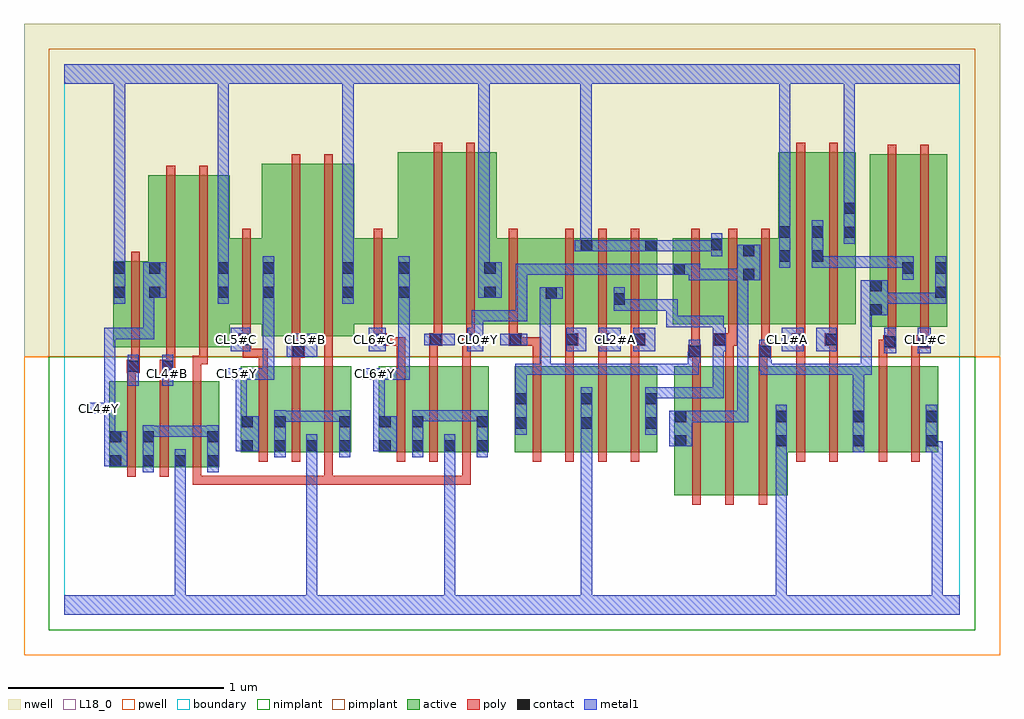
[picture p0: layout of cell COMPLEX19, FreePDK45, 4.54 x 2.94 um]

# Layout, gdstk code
import gdstk
lib = gdstk.Library(unit=1e-6, precision=1e-09)
def R(c, l, rs):  # rectangles x0, y0, x1, y1
    for r in rs: c.add(gdstk.rectangle(r[:2], r[2:], *l))
def A(c, l, x, y, w, h, nx, ny, dx, dy):  # array of equal rectangles
    R(c, l, [(x+i*dx, y+j*dy, x+i*dx+w, y+j*dy+h) for i in range(nx) for j in range(ny)])
active = (1, 0)
pwell = (2, 0)
nwell = (3, 0)
nimplant = (4, 0)
pimplant = (5, 0)
poly = (9, 0)
contact = (10, 0)
metal1 = (11, 0)
L18_0 = (18, 0)
boundary = (235, 0)

complex19 = lib.new_cell('COMPLEX19')
R(complex19, active, [(2.834,0.556,3.014,1.156), (2.834,0.556,2.894,1.156), (3.014,0.556,3.166,1.156), (3.166,0.556,3.362,1.156), (0.208,0.686,0.268,1.086), (0.208,0.686,0.42,1.086), (0.36,0.686,0.568,1.086), (0.36,0.686,0.42,0.858), (0.508,0.686,0.72,1.086), (0.508,0.686,0.568,0.746), (0.66,0.686,0.72,1.086), (3.302,0.732,3.362,0.952), (0.82,0.756,0.88,1.156), (0.82,0.756,1.032,1.156), (0.972,0.756,1.032,1.156), (0.972,0.756,1.18,1.156), (1.12,0.756,1.18,1.156), (1.12,0.756,1.332,1.156), (1.272,0.756,1.332,1.156), (1.46,0.756,1.52,1.156), (1.46,0.756,1.672,1.156), (1.612,0.756,1.82,1.156), (1.612,0.756,1.672,0.962), (1.76,0.756,1.972,1.156), (1.76,0.756,1.82,0.822), (1.912,0.756,1.972,1.156), (2.092,0.756,2.152,1.156), (2.092,0.756,2.272,1.156), (2.272,0.756,2.456,1.156), (2.396,0.756,2.576,1.156), (2.396,0.756,2.456,1.036), (2.576,0.756,2.756,1.156), (2.696,0.756,2.756,1.156), (3.302,0.756,3.498,1.156), (3.498,0.756,3.72,1.156), (3.66,0.756,3.88,1.156), (3.66,0.756,3.72,0.952), (3.88,0.756,4.06,1.156), (4,0.756,4.06,1.156), (0.226,1.244,0.286,1.644), (0.226,1.244,0.45,1.644), (0.39,1.244,0.57,2.044), (0.57,1.244,0.768,2.044), (0.918,1.296,1.152,2.096), (1.152,1.296,1.348,2.096), (3.742,1.34,3.95,2.14), (3.742,1.34,3.802,2.044), (3.89,1.34,4.102,2.14), (4.042,1.34,4.102,2.112), (0.708,1.35,0.978,1.75), (0.918,1.35,0.978,2.096), (1.288,1.35,1.608,1.75), (1.548,1.35,1.812,2.15), (1.812,1.35,2.008,2.15), (1.948,1.35,2.292,1.75), (2.232,1.35,2.456,1.75), (2.396,1.35,2.608,1.75), (2.548,1.35,2.756,1.75), (2.696,1.35,2.756,1.75), (2.828,1.35,3.062,1.75), (2.828,1.35,2.888,1.644), (3.002,1.35,3.21,1.75), (3.15,1.35,3.378,1.75), (3.318,1.35,3.53,2.15), (3.47,1.35,3.678,2.15), (3.47,1.35,3.53,2.15), (2.396,1.438,2.456,1.746), (2.548,1.438,2.608,1.644), (1.548,1.442,1.608,1.94), (1.948,1.464,2.008,2.122), (2.232,1.466,2.292,1.75), (0.39,1.47,0.45,1.644), (0.708,1.47,0.768,2.044), (1.288,1.47,1.348,1.856), (3.89,1.506,3.95,2.14), (3.15,1.552,3.21,1.75), (3.002,1.576,3.062,1.75), (3.318,1.576,3.378,1.81), (3.618,1.686,3.678,2.15)])
R(complex19, pwell, [(-0.188,-0.188,4.348,1.2)])
R(complex19, nwell, [(-0.188,1.2,4.348,2.748)])
R(complex19, nimplant, [(-0.072,-0.072,4.232,1.2)])
R(complex19, pimplant, [(-0.072,1.2,4.232,2.632)])
A(complex19, poly, 0.292, 0.642, 0.04, 0.488, 3, 1, 0.152, 0)
A(complex19, poly, 0.904, 0.712, 0.04, 0.488, 3, 1, 0.152, 0)
A(complex19, poly, 1.544, 0.712, 0.04, 0.488, 3, 1, 0.152, 0)
A(complex19, poly, 2.176, 0.712, 0.04, 0.488, 4, 1, 0.152, 0)
A(complex19, poly, 1.544, 1.16, 0.04, 0.13, 3, 1, 0.152, 0)
A(complex19, poly, 2.176, 1.16, 0.04, 0.13, 4, 1, 0.152, 0)
A(complex19, poly, 2.328, 1.27, 0.04, 0.076, 3, 1, 0.152, 0)
A(complex19, poly, 2.328, 1.306, 0.04, 0.488, 3, 1, 0.152, 0)
R(complex19, poly, [(2.918,0.512,2.958,1.2), (3.07,0.512,3.11,1.2), (3.226,0.512,3.266,1.2), (0.596,0.606,0.636,0.682), (0.596,0.606,0.636,0.646), (0.596,0.606,0.636,0.646), (0.596,0.606,0.636,0.646), (0.596,0.606,0.838,0.646), (0.798,0.606,0.838,0.646), (0.798,0.606,0.838,0.646), (0.798,0.606,0.838,0.646), (0.798,0.606,0.944,0.646), (0.904,0.606,0.944,0.646), (0.904,0.606,1.142,0.646), (1.102,0.606,1.142,0.646), (1.102,0.606,1.142,0.646), (1.102,0.606,1.142,0.646), (1.102,0.606,1.248,0.646), (1.208,0.606,1.248,0.646), (1.208,0.606,1.248,0.646), (1.208,0.606,1.248,0.646), (1.208,0.606,1.248,0.752), (1.208,0.606,1.63,0.646), (1.59,0.606,1.63,0.646), (1.59,0.606,1.63,0.646), (1.59,0.606,1.63,0.646), (1.59,0.606,1.782,0.646), (1.742,0.606,1.782,0.646), (1.742,0.606,1.782,0.646), (1.742,0.606,1.782,0.646), (1.742,0.606,1.888,0.646), (1.848,0.606,1.888,0.646), (1.848,0.606,1.888,0.646), (1.848,0.606,1.888,0.646), (1.848,0.606,1.888,0.752), (3.402,0.712,3.442,1.2), (3.554,0.712,3.594,1.2), (3.784,0.712,3.824,1.2), (3.936,0.712,3.976,1.2), (0.292,1.09,0.332,1.166), (0.444,1.09,0.484,1.166), (0.596,1.09,0.636,1.204), (0.29,1.126,0.35,1.186), (0.444,1.126,0.51,1.186), (0.31,1.146,0.35,1.186), (0.31,1.146,0.35,1.186), (0.31,1.146,0.35,1.24), (0.47,1.146,0.51,1.186), (0.47,1.146,0.514,1.186), (0.474,1.146,0.514,1.24), (0.904,1.16,0.944,1.236), (1.056,1.16,1.096,1.236), (1.208,1.16,1.248,1.256), (2.918,1.16,2.958,1.236), (3.07,1.16,3.11,1.29), (3.226,1.16,3.266,1.236), (3.402,1.16,3.442,1.29), (3.554,1.16,3.594,1.29), (3.784,1.16,3.824,1.28), (3.936,1.16,3.976,1.28), (0.596,1.164,0.636,1.204), (0.596,1.164,0.636,1.204), (0.596,1.164,0.666,1.204), (0.626,1.164,0.666,1.24), (0.828,1.196,0.868,1.29), (0.828,1.196,0.944,1.236), (1.056,1.196,1.116,1.256), (2.898,1.196,2.958,1.256), (3.226,1.196,3.286,1.256), (0.31,1.2,0.35,1.688), (0.474,1.2,0.514,2.088), (0.626,1.2,0.666,2.088), (1.056,1.216,1.096,1.292), (1.056,1.216,1.096,1.256), (1.056,1.216,1.096,1.256), (1.208,1.216,1.248,1.292), (1.208,1.216,1.248,1.256), (1.208,1.216,1.248,1.256), (1.208,1.216,1.248,1.256), (2.912,1.216,2.952,1.256), (2.912,1.216,2.952,1.256), (2.912,1.216,2.952,1.346), (3.238,1.216,3.278,1.256), (3.238,1.216,3.278,1.256), (3.238,1.216,3.278,1.346), (3.784,1.24,3.846,1.28), (3.806,1.24,3.846,1.28), (3.806,1.24,3.866,1.3), (3.936,1.24,4.022,1.3), (0.808,1.25,0.868,1.31), (1.438,1.25,1.498,1.31), (1.458,1.25,1.498,1.29), (1.458,1.25,1.584,1.29), (1.696,1.25,1.756,1.31), (1.848,1.25,1.908,1.29), (1.868,1.25,1.908,1.29), (1.868,1.25,1.928,1.31), (2.066,1.25,2.126,1.31), (2.086,1.25,2.126,1.29), (2.086,1.25,2.216,1.29), (2.328,1.25,2.368,1.29), (2.328,1.25,2.368,1.29), (2.328,1.25,2.388,1.31), (2.48,1.25,2.52,1.29), (2.48,1.25,2.52,1.29), (2.48,1.25,2.54,1.31), (2.632,1.25,2.672,1.29), (2.632,1.25,2.672,1.29), (2.632,1.25,2.7,1.31), (3.018,1.25,3.126,1.31), (3.07,1.25,3.11,1.29), (3.07,1.25,3.11,1.29), (3.38,1.25,3.442,1.31), (3.402,1.25,3.442,1.29), (3.402,1.25,3.442,1.29), (3.534,1.25,3.594,1.31), (3.554,1.25,3.594,1.29), (3.554,1.25,3.594,1.29), (1.056,1.252,1.096,2.14), (1.208,1.252,1.248,2.14), (3.826,1.26,3.866,1.336), (3.978,1.26,4.018,1.336), (3.978,1.26,4.018,1.3), (3.978,1.26,4.018,1.3), (0.826,1.27,0.866,1.346), (1.438,1.27,1.478,1.346), (1.716,1.27,1.756,1.346), (1.716,1.27,1.756,1.31), (1.716,1.27,1.756,1.31), (1.868,1.27,1.908,1.346), (2.066,1.27,2.106,1.346), (3.086,1.27,3.126,1.346), (3.402,1.27,3.442,1.346), (3.554,1.27,3.594,1.346), (3.826,1.296,3.866,2.184), (3.978,1.296,4.018,2.184), (0.826,1.306,0.866,1.794), (1.438,1.306,1.478,1.794), (1.716,1.306,1.756,2.194), (1.868,1.306,1.908,2.194), (2.066,1.306,2.106,1.794), (2.912,1.306,2.952,1.794), (3.086,1.306,3.126,1.794), (3.238,1.306,3.278,1.794), (3.402,1.306,3.442,2.194), (3.554,1.306,3.594,2.194)])
R(complex19, contact, [(0.212,0.69,0.264,0.742), (0.364,0.69,0.416,0.742), (0.512,0.69,0.564,0.742), (0.664,0.69,0.716,0.742), (0.824,0.76,0.876,0.812), (0.976,0.76,1.028,0.812), (1.124,0.76,1.176,0.812), (1.276,0.76,1.328,0.812), (1.464,0.76,1.516,0.812), (1.616,0.76,1.668,0.812), (1.764,0.76,1.816,0.812), (1.916,0.76,1.968,0.812), (2.838,0.784,2.89,0.836), (3.306,0.784,3.358,0.836), (3.664,0.784,3.716,0.836), (4.004,0.784,4.056,0.836), (0.212,0.802,0.264,0.854), (0.364,0.802,0.416,0.854), (0.664,0.802,0.716,0.854), (2.096,0.866,2.148,0.918), (2.4,0.866,2.452,0.918), (2.7,0.866,2.752,0.918), (0.824,0.872,0.876,0.924), (0.976,0.872,1.028,0.924), (1.276,0.872,1.328,0.924), (1.464,0.872,1.516,0.924), (1.616,0.872,1.668,0.924), (1.916,0.872,1.968,0.924), (2.838,0.896,2.89,0.948), (3.306,0.896,3.358,0.948), (3.664,0.896,3.716,0.948), (4.004,0.896,4.056,0.948), (2.096,0.978,2.148,1.03), (2.4,0.978,2.452,1.03), (2.7,0.978,2.752,1.03), (0.294,1.13,0.346,1.182), (0.454,1.13,0.506,1.182), (1.06,1.2,1.112,1.252), (2.902,1.2,2.954,1.252), (3.23,1.2,3.282,1.252), (3.81,1.244,3.862,1.296), (3.966,1.244,4.018,1.296), (0.812,1.254,0.864,1.306), (1.442,1.254,1.494,1.306), (1.7,1.254,1.752,1.306), (1.872,1.254,1.924,1.306), (2.07,1.254,2.122,1.306), (2.332,1.254,2.384,1.306), (2.484,1.254,2.536,1.306), (2.644,1.254,2.696,1.306), (3.022,1.254,3.074,1.306), (3.384,1.254,3.436,1.306), (3.538,1.254,3.59,1.306), (3.746,1.392,3.798,1.444), (2.552,1.442,2.604,1.494), (2.236,1.47,2.288,1.522), (0.23,1.474,0.282,1.526), (0.394,1.474,0.446,1.526), (0.712,1.474,0.764,1.526), (0.922,1.474,0.974,1.526), (1.292,1.474,1.344,1.526), (1.552,1.474,1.604,1.526), (1.952,1.474,2.004,1.526), (4.046,1.474,4.098,1.526), (3.746,1.504,3.798,1.556), (3.154,1.556,3.206,1.608), (2.832,1.58,2.884,1.632), (0.23,1.586,0.282,1.638), (0.394,1.586,0.446,1.638), (0.712,1.586,0.764,1.638), (0.922,1.586,0.974,1.638), (1.292,1.586,1.344,1.638), (1.552,1.586,1.604,1.638), (1.952,1.586,2.004,1.638), (3.894,1.586,3.946,1.638), (4.046,1.586,4.098,1.638), (3.322,1.642,3.374,1.694), (3.474,1.642,3.526,1.694), (3.154,1.668,3.206,1.72), (2.4,1.69,2.452,1.742), (2.7,1.69,2.752,1.742), (3.006,1.694,3.058,1.746), (3.622,1.752,3.674,1.804), (3.322,1.754,3.374,1.806), (3.474,1.754,3.526,1.806), (3.622,1.864,3.674,1.916)])
A(complex19, metal1, 2.7, 1.006, 0.156, 0.052, 3, 1, 0.104, 0)
A(complex19, metal1, 2.804, 1.006, 0.052, 0.052, 3, 1, 0.104, 0)
R(complex19, metal1, [(0,0,4.16,0.092), (0.512,0.04,0.564,0.092), (0.512,0.04,0.564,0.092), (0.512,0.04,0.564,0.714), (1.124,0.04,1.176,0.784), (1.764,0.04,1.816,0.784), (2.4,0.04,2.452,0.092), (2.4,0.04,2.452,0.092), (2.4,0.04,2.452,0.092), (2.4,0.04,2.452,0.092), (2.4,0.04,2.452,0.092), (2.4,0.04,2.452,0.092), (2.4,0.04,2.452,0.092), (2.4,0.04,2.452,0.092), (2.4,0.04,2.452,0.092), (2.4,0.04,2.452,0.092), (2.4,0.04,2.452,0.092), (2.4,0.04,2.452,0.092), (2.4,0.04,2.452,0.89), (3.306,0.04,3.358,0.808), (4.03,0.04,4.082,0.092), (4.03,0.04,4.082,0.092), (4.03,0.04,4.082,0.092), (4.03,0.04,4.082,0.092), (4.03,0.04,4.082,0.808), (0.364,0.662,0.416,0.882), (0.512,0.662,0.564,0.714), (0.512,0.662,0.564,0.714), (0.512,0.662,0.564,0.714), (0.512,0.662,0.564,0.714), (0.512,0.662,0.564,0.714), (0.512,0.662,0.564,0.714), (0.512,0.662,0.564,0.714), (0.512,0.662,0.564,0.714), (0.512,0.662,0.564,0.714), (0.512,0.662,0.564,0.714), (0.512,0.662,0.564,0.77), (0.664,0.662,0.716,0.882), (0.184,0.69,0.292,0.854), (0.976,0.732,1.028,0.952), (1.124,0.732,1.176,0.784), (1.124,0.732,1.176,0.784), (1.124,0.732,1.176,0.784), (1.124,0.732,1.176,0.784), (1.124,0.732,1.176,0.784), (1.124,0.732,1.176,0.784), (1.124,0.732,1.176,0.784), (1.124,0.732,1.176,0.784), (1.124,0.732,1.176,0.784), (1.124,0.732,1.176,0.784), (1.124,0.732,1.176,0.784), (1.124,0.732,1.176,0.784), (1.124,0.732,1.176,0.84), (1.276,0.732,1.328,0.952), (1.616,0.732,1.668,0.952), (1.764,0.732,1.816,0.784), (1.764,0.732,1.816,0.784), (1.764,0.732,1.816,0.784), (1.764,0.732,1.816,0.784), (1.764,0.732,1.816,0.784), (1.764,0.732,1.816,0.784), (1.764,0.732,1.816,0.784), (1.764,0.732,1.816,0.784), (1.764,0.732,1.816,0.784), (1.764,0.732,1.816,0.784), (1.764,0.732,1.816,0.784), (1.764,0.732,1.816,0.784), (1.764,0.732,1.816,0.84), (1.916,0.732,1.968,0.952), (3.306,0.756,3.358,0.976), (3.306,0.756,3.358,0.808), (3.306,0.756,3.358,0.808), (3.306,0.756,3.358,0.808), (3.306,0.756,3.358,0.808), (3.306,0.756,3.358,0.808), (3.306,0.756,3.358,0.808), (3.306,0.756,3.358,0.808), (3.306,0.756,3.358,0.808), (3.664,0.756,3.716,0.976), (4.004,0.756,4.056,0.976), (4.004,0.756,4.056,0.808), (4.004,0.756,4.082,0.808), (4.03,0.756,4.082,0.808), (4.03,0.756,4.082,0.808), (4.03,0.756,4.082,0.808), (4.03,0.756,4.082,0.808), (4.03,0.756,4.082,0.808), (4.03,0.756,4.082,0.808), (0.796,0.76,0.904,0.924), (1.436,0.76,1.544,0.924), (2.81,0.784,2.918,0.948), (0.184,0.802,0.236,0.986), (0.364,0.828,0.526,0.88), (0.474,0.828,0.526,0.88), (0.474,0.828,0.526,0.88), (0.474,0.828,0.526,0.88), (0.474,0.828,0.688,0.88), (0.636,0.828,0.688,0.88), (0.636,0.828,0.716,0.88), (2.096,0.838,2.148,1.058), (2.4,0.838,2.452,1.058), (2.7,0.838,2.752,1.058), (0.796,0.872,0.848,1.146), (1.436,0.872,1.488,1.146), (2.866,0.896,2.96,0.948), (2.908,0.896,2.96,0.948), (2.908,0.896,3.068,0.948), (3.016,0.896,3.068,0.948), (3.016,0.896,3.172,0.948), (3.12,0.896,3.172,0.948), (3.12,0.896,3.178,0.948), (3.126,0.896,3.178,0.948), (3.126,0.896,3.178,0.948), (3.126,0.896,3.178,0.948), (3.126,0.896,3.178,0.948), (3.126,0.896,3.178,0.948), (3.126,0.896,3.178,1.608), (0.976,0.898,1.028,0.95), (0.976,0.898,1.028,0.95), (0.976,0.898,1.138,0.95), (1.086,0.898,1.138,0.95), (1.086,0.898,1.328,0.95), (1.276,0.898,1.328,0.95), (1.276,0.898,1.328,0.95), (1.616,0.9,1.668,0.952), (1.616,0.9,1.668,0.952), (1.616,0.9,1.836,0.952), (1.784,0.9,1.836,0.952), (1.784,0.9,1.968,0.952), (1.916,0.9,1.968,0.952), (1.916,0.9,1.968,0.952), (3.664,0.924,3.716,1.168), (0.106,0.934,0.236,0.986), (0.184,0.934,0.236,1.334), (2.096,1.006,2.148,1.168), (3.012,1.006,3.064,1.334), (0.294,1.066,0.346,1.21), (0.454,1.066,0.506,1.21), (0.746,1.094,0.854,1.146), (0.802,1.094,0.854,1.146), (0.802,1.094,0.854,1.146), (0.802,1.094,0.974,1.146), (0.922,1.094,0.974,1.146), (0.922,1.094,0.974,1.498), (1.386,1.094,1.494,1.146), (1.442,1.094,1.494,1.146), (1.442,1.094,1.494,1.146), (1.442,1.094,1.604,1.146), (1.552,1.094,1.604,1.146), (1.552,1.094,1.604,1.498), (2.096,1.116,2.148,1.168), (2.096,1.116,2.148,1.168), (2.096,1.116,2.148,1.168), (2.096,1.116,2.26,1.168), (2.208,1.116,2.26,1.168), (2.208,1.116,2.37,1.168), (2.208,1.116,2.26,1.342), (2.318,1.116,2.37,1.168), (2.318,1.116,2.494,1.168), (2.442,1.116,2.494,1.168), (2.442,1.116,2.494,1.168), (2.442,1.116,2.494,1.168), (2.442,1.116,2.614,1.168), (2.562,1.116,2.614,1.168), (2.562,1.116,2.614,1.168), (2.562,1.116,2.614,1.168), (2.562,1.116,2.746,1.168), (2.694,1.116,2.746,1.168), (2.694,1.116,2.948,1.168), (2.896,1.116,2.948,1.224), (3.236,1.116,3.436,1.168), (3.236,1.116,3.288,1.186), (3.384,1.116,3.436,1.168), (3.384,1.116,3.436,1.168), (3.384,1.116,3.436,1.168), (3.384,1.116,3.642,1.168), (3.59,1.116,3.642,1.168), (3.59,1.116,3.716,1.168), (3.664,1.116,3.716,1.168), (3.664,1.116,3.752,1.168), (3.7,1.116,3.752,1.168), (3.7,1.116,3.752,1.168), (3.7,1.116,3.752,1.168), (3.7,1.116,3.752,1.444), (3.23,1.134,3.288,1.186), (3.23,1.134,3.282,1.28), (2.896,1.172,2.954,1.224), (2.902,1.172,2.954,1.28), (1.032,1.2,1.174,1.306), (3.81,1.216,3.866,1.334), (3.966,1.216,4.026,1.334), (0.774,1.226,0.864,1.334), (1.414,1.226,1.494,1.334), (1.872,1.226,1.946,1.334), (2.332,1.226,2.426,1.334), (2.484,1.226,2.586,1.334), (2.644,1.226,2.746,1.334), (3.022,1.226,3.074,1.334), (3.334,1.226,3.436,1.334), (3.494,1.226,3.59,1.334), (1.672,1.254,1.814,1.306), (2.026,1.254,2.15,1.306), (0.184,1.282,0.236,1.334), (0.184,1.282,0.236,1.334), (0.184,1.282,0.236,1.334), (0.184,1.282,0.418,1.334), (0.366,1.282,0.418,1.334), (0.366,1.282,0.418,1.526), (1.894,1.282,1.946,1.334), (1.894,1.282,1.946,1.334), (1.894,1.282,1.946,1.416), (3.012,1.282,3.064,1.334), (3.012,1.282,3.064,1.334), (3.012,1.282,3.064,1.39), (3.012,1.282,3.074,1.334), (2.208,1.29,2.26,1.342), (2.208,1.29,2.26,1.522), (2.798,1.338,2.85,1.39), (2.798,1.338,2.948,1.39), (2.798,1.338,2.85,1.466), (2.896,1.338,2.948,1.39), (2.896,1.338,2.96,1.39), (2.908,1.338,2.96,1.39), (2.908,1.338,3.064,1.39), (1.894,1.364,1.946,1.416), (1.894,1.364,2.15,1.416), (2.098,1.364,2.15,1.416), (2.098,1.364,2.15,1.632), (3.7,1.392,3.826,1.556), (2.552,1.414,2.604,1.466), (2.552,1.414,2.604,1.466), (2.552,1.414,2.604,1.522), (2.552,1.414,2.85,1.466), (2.798,1.414,2.85,1.466), (0.23,1.446,0.282,1.666), (0.712,1.446,0.764,1.666), (0.922,1.446,0.974,1.666), (0.922,1.446,0.974,1.498), (0.922,1.446,0.974,1.498), (1.292,1.446,1.344,1.666), (1.552,1.446,1.604,1.666), (1.552,1.446,1.604,1.498), (1.552,1.446,1.604,1.498), (3.774,1.446,3.826,1.498), (3.774,1.446,3.826,1.498), (3.774,1.446,3.946,1.498), (3.894,1.446,4.098,1.498), (3.894,1.446,3.946,1.498), (3.894,1.446,3.946,1.498), (3.894,1.446,3.946,1.498), (4.046,1.446,4.098,1.666), (2.208,1.47,2.316,1.522), (0.366,1.474,0.474,1.638), (1.924,1.474,2.032,1.638), (2.902,1.556,2.954,1.608), (2.902,1.556,2.964,1.608), (2.902,1.556,2.954,1.632), (2.912,1.556,2.964,1.608), (2.912,1.556,3.068,1.608), (3.016,1.556,3.068,1.608), (3.016,1.556,3.074,1.608), (3.022,1.556,3.074,1.608), (3.022,1.556,3.178,1.608), (3.126,1.556,3.178,1.608), (3.126,1.556,3.178,1.608), (3.126,1.556,3.234,1.72), (3.894,1.558,3.946,1.666), (2.098,1.58,2.15,1.632), (2.098,1.58,2.15,1.632), (2.098,1.58,2.15,1.632), (2.098,1.58,2.26,1.632), (2.208,1.58,2.26,1.632), (2.208,1.58,2.26,1.632), (2.208,1.58,2.26,1.632), (2.208,1.58,2.494,1.632), (2.442,1.58,2.494,1.632), (2.442,1.58,2.494,1.632), (2.442,1.58,2.494,1.632), (2.442,1.58,2.614,1.632), (2.562,1.58,2.614,1.632), (2.562,1.58,2.614,1.632), (2.562,1.58,2.614,1.632), (2.562,1.58,2.74,1.632), (2.688,1.58,2.74,1.632), (2.688,1.58,2.856,1.632), (2.804,1.58,2.954,1.632), (1.924,1.586,1.976,1.638), (1.924,1.586,1.976,1.638), (1.924,1.586,1.976,1.638), (1.924,1.586,1.976,1.638), (1.924,1.586,1.976,1.638), (1.924,1.586,1.976,1.638), (1.924,1.586,1.976,2.494), (0.23,1.614,0.282,1.79), (0.712,1.614,0.764,1.666), (0.712,1.614,0.764,1.666), (0.712,1.614,0.764,1.666), (0.712,1.614,0.764,1.666), (0.712,1.614,0.764,1.666), (0.712,1.614,0.764,1.666), (0.712,1.614,0.764,2.52), (1.292,1.614,1.344,1.666), (1.292,1.614,1.344,1.666), (1.292,1.614,1.344,1.666), (1.292,1.614,1.344,1.666), (1.292,1.614,1.344,1.666), (1.292,1.614,1.344,1.666), (1.292,1.614,1.344,2.52), (3.322,1.614,3.374,1.834), (3.474,1.614,3.526,1.834), (3.474,1.614,3.546,1.666), (3.494,1.614,3.546,1.666), (3.494,1.614,3.642,1.666), (3.59,1.614,3.642,1.666), (3.59,1.614,3.642,1.666), (3.59,1.614,3.642,1.666), (3.59,1.614,3.836,1.666), (3.784,1.614,3.836,1.666), (3.784,1.614,3.836,1.666), (3.784,1.614,3.836,1.666), (3.784,1.614,3.946,1.666), (3.006,1.666,3.058,1.774), (2.372,1.69,2.48,1.742), (2.398,1.69,2.45,1.742), (2.398,1.69,2.45,1.742), (2.398,1.69,2.45,2.52), (2.428,1.69,2.48,1.742), (2.428,1.69,2.48,1.742), (2.428,1.69,2.614,1.742), (2.562,1.69,2.614,1.742), (2.562,1.69,2.614,1.742), (2.562,1.69,2.614,1.742), (2.562,1.69,2.724,1.742), (2.672,1.69,2.78,1.742), (2.728,1.69,2.856,1.742), (2.804,1.69,2.856,1.742), (2.804,1.69,2.96,1.742), (2.908,1.69,2.96,1.742), (2.908,1.69,3.058,1.742), (3.622,1.724,3.674,1.944), (0.23,1.738,0.282,1.958), (0.23,1.738,0.282,1.79), (0.23,1.738,0.282,1.79), (0.23,1.738,0.282,1.79), (0.23,1.738,0.282,1.79), (0.23,1.738,0.282,1.79), (3.322,1.782,3.374,1.834), (3.322,1.782,3.374,1.834), (3.322,1.782,3.374,1.834), (3.322,1.782,3.374,1.834), (3.322,1.782,3.374,1.834), (3.322,1.782,3.374,1.834), (3.322,1.782,3.374,2.52), (3.622,1.892,3.674,2.52), (0.23,1.906,0.282,1.958), (0.23,1.906,0.282,1.958), (0.23,1.906,0.282,1.958), (0.23,1.906,0.282,1.958), (0.23,1.906,0.282,1.958), (0.23,1.906,0.282,2.506), (1.924,2.442,1.976,2.494), (1.924,2.442,1.976,2.52), (0.23,2.454,0.282,2.506), (0.23,2.454,0.282,2.506), (0.23,2.454,0.282,2.506), (0.23,2.454,0.282,2.52), (0,2.468,4.16,2.56), (0.712,2.468,0.764,2.52), (0.712,2.468,0.764,2.52), (1.292,2.468,1.344,2.52), (1.292,2.468,1.344,2.52), (2.398,2.468,2.45,2.52), (2.398,2.468,2.45,2.52), (2.398,2.468,2.45,2.52), (2.398,2.468,2.45,2.52), (2.398,2.468,2.45,2.52), (2.398,2.468,2.45,2.52), (2.398,2.468,2.45,2.52), (2.398,2.468,2.45,2.52), (2.398,2.468,2.45,2.52), (2.398,2.468,2.45,2.52), (2.398,2.468,2.45,2.52), (2.398,2.468,2.45,2.52), (2.398,2.468,2.45,2.52), (2.398,2.468,2.45,2.52), (3.322,2.468,3.374,2.52), (3.322,2.468,3.374,2.52), (3.622,2.468,3.674,2.52), (3.622,2.468,3.674,2.52), (3.622,2.468,3.674,2.52), (3.622,2.468,3.674,2.52), (3.622,2.468,3.674,2.52), (3.622,2.468,3.674,2.52), (3.622,2.468,3.674,2.52), (3.622,2.468,3.674,2.52)])
A(complex19, L18_0, 0.774, 1.254, 0.052, 0.052, 4, 1, 0.32, 0)
A(complex19, L18_0, 2.374, 1.254, 0.052, 0.052, 3, 1, 0.16, 0)
R(complex19, L18_0, [(0,0,4.16,0.092), (0.512,0.04,0.564,0.092), (0.512,0.04,0.564,0.092), (0.512,0.04,0.564,0.714), (1.124,0.04,1.176,0.784), (1.764,0.04,1.816,0.784), (2.4,0.04,2.452,0.092), (2.4,0.04,2.452,0.092), (2.4,0.04,2.452,0.092), (2.4,0.04,2.452,0.092), (2.4,0.04,2.452,0.092), (2.4,0.04,2.452,0.092), (2.4,0.04,2.452,0.092), (2.4,0.04,2.452,0.092), (2.4,0.04,2.452,0.092), (2.4,0.04,2.452,0.092), (2.4,0.04,2.452,0.092), (2.4,0.04,2.452,0.092), (2.4,0.04,2.452,0.89), (3.306,0.04,3.358,0.808), (4.03,0.04,4.082,0.092), (4.03,0.04,4.082,0.092), (4.03,0.04,4.082,0.092), (4.03,0.04,4.082,0.092), (4.03,0.04,4.082,0.808), (0.512,0.662,0.564,0.714), (0.512,0.662,0.564,0.714), (0.512,0.662,0.564,0.714), (0.512,0.662,0.564,0.714), (0.512,0.662,0.564,0.714), (0.512,0.662,0.564,0.714), (0.512,0.662,0.564,0.714), (0.512,0.662,0.564,0.714), (0.512,0.662,0.564,0.714), (0.512,0.662,0.564,0.714), (0.512,0.662,0.564,0.77), (0.184,0.69,0.292,0.854), (1.124,0.732,1.176,0.784), (1.124,0.732,1.176,0.784), (1.124,0.732,1.176,0.784), (1.124,0.732,1.176,0.784), (1.124,0.732,1.176,0.784), (1.124,0.732,1.176,0.784), (1.124,0.732,1.176,0.784), (1.124,0.732,1.176,0.784), (1.124,0.732,1.176,0.784), (1.124,0.732,1.176,0.784), (1.124,0.732,1.176,0.784), (1.124,0.732,1.176,0.784), (1.124,0.732,1.176,0.84), (1.764,0.732,1.816,0.784), (1.764,0.732,1.816,0.784), (1.764,0.732,1.816,0.784), (1.764,0.732,1.816,0.784), (1.764,0.732,1.816,0.784), (1.764,0.732,1.816,0.784), (1.764,0.732,1.816,0.784), (1.764,0.732,1.816,0.784), (1.764,0.732,1.816,0.784), (1.764,0.732,1.816,0.784), (1.764,0.732,1.816,0.784), (1.764,0.732,1.816,0.784), (1.764,0.732,1.816,0.84), (3.306,0.756,3.358,0.808), (3.306,0.756,3.358,0.808), (3.306,0.756,3.358,0.808), (3.306,0.756,3.358,0.808), (3.306,0.756,3.358,0.808), (3.306,0.756,3.358,0.808), (3.306,0.756,3.358,0.808), (3.306,0.756,3.358,0.808), (3.306,0.756,3.358,0.976), (4.004,0.756,4.056,0.808), (4.004,0.756,4.056,0.976), (4.004,0.756,4.082,0.808), (4.03,0.756,4.082,0.808), (4.03,0.756,4.082,0.808), (4.03,0.756,4.082,0.808), (4.03,0.756,4.082,0.808), (4.03,0.756,4.082,0.808), (4.03,0.756,4.082,0.808), (0.796,0.76,0.904,0.924), (1.436,0.76,1.544,0.924), (2.81,0.784,2.918,0.948), (0.184,0.802,0.236,0.986), (2.4,0.838,2.452,1.058), (0.796,0.872,0.848,1.146), (1.436,0.872,1.488,1.146), (2.866,0.896,2.96,0.948), (2.908,0.896,2.96,0.948), (2.908,0.896,3.068,0.948), (3.016,0.896,3.068,0.948), (3.016,0.896,3.172,0.948), (3.12,0.896,3.172,0.948), (3.12,0.896,3.178,0.948), (3.126,0.896,3.178,0.948), (3.126,0.896,3.178,0.948), (3.126,0.896,3.178,0.948), (3.126,0.896,3.178,0.948), (3.126,0.896,3.178,0.948), (3.126,0.896,3.178,1.608), (0.106,0.934,0.236,0.986), (0.134,0.934,0.186,0.986), (0.184,0.934,0.236,1.334), (0.294,1.066,0.346,1.21), (0.454,1.066,0.506,1.21), (0.294,1.094,0.346,1.146), (0.454,1.094,0.506,1.146), (0.746,1.094,0.854,1.146), (0.774,1.094,0.826,1.146), (0.802,1.094,0.854,1.146), (0.802,1.094,0.854,1.146), (0.802,1.094,0.974,1.146), (0.922,1.094,0.974,1.146), (0.922,1.094,0.974,1.498), (1.386,1.094,1.494,1.146), (1.414,1.094,1.466,1.146), (1.442,1.094,1.494,1.146), (1.442,1.094,1.494,1.146), (1.442,1.094,1.604,1.146), (1.552,1.094,1.604,1.146), (1.552,1.094,1.604,1.498), (1.032,1.2,1.174,1.306), (3.81,1.216,3.866,1.334), (3.966,1.216,4.026,1.334), (0.774,1.226,0.864,1.334), (1.414,1.226,1.494,1.334), (1.872,1.226,1.946,1.334), (2.332,1.226,2.426,1.334), (2.484,1.226,2.586,1.334), (2.644,1.226,2.746,1.334), (3.334,1.226,3.436,1.334), (3.494,1.226,3.59,1.334), (1.672,1.254,1.814,1.306), (1.894,1.254,1.946,1.306), (2.026,1.254,2.15,1.306), (2.054,1.254,2.106,1.306), (3.334,1.254,3.386,1.306), (3.494,1.254,3.546,1.306), (3.814,1.254,3.866,1.306), (3.974,1.254,4.026,1.306), (0.184,1.282,0.236,1.334), (0.184,1.282,0.236,1.334), (0.184,1.282,0.236,1.334), (0.184,1.282,0.418,1.334), (0.366,1.282,0.418,1.334), (0.366,1.282,0.418,1.526), (1.894,1.282,1.946,1.334), (1.894,1.282,1.946,1.334), (1.894,1.282,1.946,1.416), (1.894,1.364,1.946,1.416), (1.894,1.364,2.15,1.416), (2.098,1.364,2.15,1.416), (2.098,1.364,2.15,1.632), (0.23,1.446,0.282,1.666), (0.712,1.446,0.764,1.666), (0.922,1.446,0.974,1.498), (0.922,1.446,0.974,1.498), (0.922,1.446,0.974,1.666), (1.292,1.446,1.344,1.666), (1.552,1.446,1.604,1.498), (1.552,1.446,1.604,1.498), (1.552,1.446,1.604,1.666), (0.366,1.474,0.474,1.638), (1.924,1.474,2.032,1.638), (2.902,1.556,2.954,1.608), (2.902,1.556,2.954,1.632), (2.902,1.556,2.964,1.608), (2.912,1.556,2.964,1.608), (2.912,1.556,3.068,1.608), (3.016,1.556,3.068,1.608), (3.016,1.556,3.074,1.608), (3.022,1.556,3.074,1.608), (3.022,1.556,3.178,1.608), (3.126,1.556,3.234,1.72), (3.126,1.556,3.178,1.608), (3.126,1.556,3.178,1.608), (2.098,1.58,2.15,1.632), (2.098,1.58,2.15,1.632), (2.098,1.58,2.15,1.632), (2.098,1.58,2.26,1.632), (2.208,1.58,2.26,1.632), (2.208,1.58,2.26,1.632), (2.208,1.58,2.26,1.632), (2.208,1.58,2.494,1.632), (2.442,1.58,2.494,1.632), (2.442,1.58,2.494,1.632), (2.442,1.58,2.494,1.632), (2.442,1.58,2.614,1.632), (2.562,1.58,2.614,1.632), (2.562,1.58,2.614,1.632), (2.562,1.58,2.614,1.632), (2.562,1.58,2.74,1.632), (2.688,1.58,2.74,1.632), (2.688,1.58,2.856,1.632), (2.804,1.58,2.954,1.632), (1.924,1.586,1.976,1.638), (1.924,1.586,1.976,1.638), (1.924,1.586,1.976,1.638), (1.924,1.586,1.976,1.638), (1.924,1.586,1.976,1.638), (1.924,1.586,1.976,1.638), (1.924,1.586,1.976,2.494), (0.23,1.614,0.282,1.79), (0.712,1.614,0.764,1.666), (0.712,1.614,0.764,1.666), (0.712,1.614,0.764,1.666), (0.712,1.614,0.764,1.666), (0.712,1.614,0.764,1.666), (0.712,1.614,0.764,1.666), (0.712,1.614,0.764,2.52), (1.292,1.614,1.344,1.666), (1.292,1.614,1.344,1.666), (1.292,1.614,1.344,1.666), (1.292,1.614,1.344,1.666), (1.292,1.614,1.344,1.666), (1.292,1.614,1.344,1.666), (1.292,1.614,1.344,2.52), (3.322,1.614,3.374,1.834), (3.006,1.666,3.058,1.774), (2.372,1.69,2.48,1.742), (2.398,1.69,2.45,1.742), (2.398,1.69,2.45,1.742), (2.398,1.69,2.45,2.52), (2.428,1.69,2.48,1.742), (2.428,1.69,2.48,1.742), (2.428,1.69,2.614,1.742), (2.562,1.69,2.614,1.742), (2.562,1.69,2.614,1.742), (2.562,1.69,2.614,1.742), (2.562,1.69,2.724,1.742), (2.672,1.69,2.78,1.742), (2.728,1.69,2.856,1.742), (2.804,1.69,2.856,1.742), (2.804,1.69,2.96,1.742), (2.908,1.69,2.96,1.742), (2.908,1.69,3.058,1.742), (3.622,1.724,3.674,1.944), (0.23,1.738,0.282,1.79), (0.23,1.738,0.282,1.79), (0.23,1.738,0.282,1.79), (0.23,1.738,0.282,1.79), (0.23,1.738,0.282,1.79), (0.23,1.738,0.282,1.958), (3.322,1.782,3.374,1.834), (3.322,1.782,3.374,1.834), (3.322,1.782,3.374,1.834), (3.322,1.782,3.374,1.834), (3.322,1.782,3.374,1.834), (3.322,1.782,3.374,1.834), (3.322,1.782,3.374,2.52), (3.622,1.892,3.674,2.52), (0.23,1.906,0.282,1.958), (0.23,1.906,0.282,1.958), (0.23,1.906,0.282,1.958), (0.23,1.906,0.282,1.958), (0.23,1.906,0.282,1.958), (0.23,1.906,0.282,2.506), (1.924,2.442,1.976,2.494), (1.924,2.442,1.976,2.52), (0.23,2.454,0.282,2.506), (0.23,2.454,0.282,2.506), (0.23,2.454,0.282,2.506), (0.23,2.454,0.282,2.52), (0,2.468,4.16,2.56), (0.712,2.468,0.764,2.52), (0.712,2.468,0.764,2.52), (1.292,2.468,1.344,2.52), (1.292,2.468,1.344,2.52), (2.398,2.468,2.45,2.52), (2.398,2.468,2.45,2.52), (2.398,2.468,2.45,2.52), (2.398,2.468,2.45,2.52), (2.398,2.468,2.45,2.52), (2.398,2.468,2.45,2.52), (2.398,2.468,2.45,2.52), (2.398,2.468,2.45,2.52), (2.398,2.468,2.45,2.52), (2.398,2.468,2.45,2.52), (2.398,2.468,2.45,2.52), (2.398,2.468,2.45,2.52), (2.398,2.468,2.45,2.52), (2.398,2.468,2.45,2.52), (3.322,2.468,3.374,2.52), (3.322,2.468,3.374,2.52), (3.622,2.468,3.674,2.52), (3.622,2.468,3.674,2.52), (3.622,2.468,3.674,2.52), (3.622,2.468,3.674,2.52), (3.622,2.468,3.674,2.52), (3.622,2.468,3.674,2.52), (3.622,2.468,3.674,2.52), (3.622,2.468,3.674,2.52)])
R(complex19, boundary, [(0,0,4.16,2.56)])
complex19.add(gdstk.Label('CL0#Y', (1.92,1.28), layer=11, texttype=0))
complex19.add(gdstk.Label('CL1#A', (3.36,1.28), layer=11, texttype=0))
complex19.add(gdstk.Label('CL1#B', (3.52,1.28), layer=11, texttype=0))
complex19.add(gdstk.Label('CL1#C', (4,1.28), layer=11, texttype=0))
complex19.add(gdstk.Label('CL1#D', (3.84,1.28), layer=11, texttype=0))
complex19.add(gdstk.Label('CL2#A', (2.56,1.28), layer=11, texttype=0))
complex19.add(gdstk.Label('CL2#B', (2.72,1.28), layer=11, texttype=0))
complex19.add(gdstk.Label('CL3#A', (2.4,1.28), layer=11, texttype=0))
complex19.add(gdstk.Label('CL3#B', (2.08,1.28), layer=11, texttype=0))
complex19.add(gdstk.Label('CL4#B', (0.48,1.12), layer=11, texttype=0))
complex19.add(gdstk.Label('CL4#C', (0.32,1.12), layer=11, texttype=0))
complex19.add(gdstk.Label('CL4#Y', (0.16,0.96), layer=11, texttype=0))
complex19.add(gdstk.Label('CL5#B', (1.12,1.28), layer=11, texttype=0))
complex19.add(gdstk.Label('CL5#C', (0.8,1.28), layer=11, texttype=0))
complex19.add(gdstk.Label('CL5#Y', (0.8,1.12), layer=11, texttype=0))
complex19.add(gdstk.Label('CL6#B', (1.76,1.28), layer=11, texttype=0))
complex19.add(gdstk.Label('CL6#C', (1.44,1.28), layer=11, texttype=0))
complex19.add(gdstk.Label('CL6#Y', (1.44,1.12), layer=11, texttype=0))

lib.write_gds('COMPLEX19.gds')
